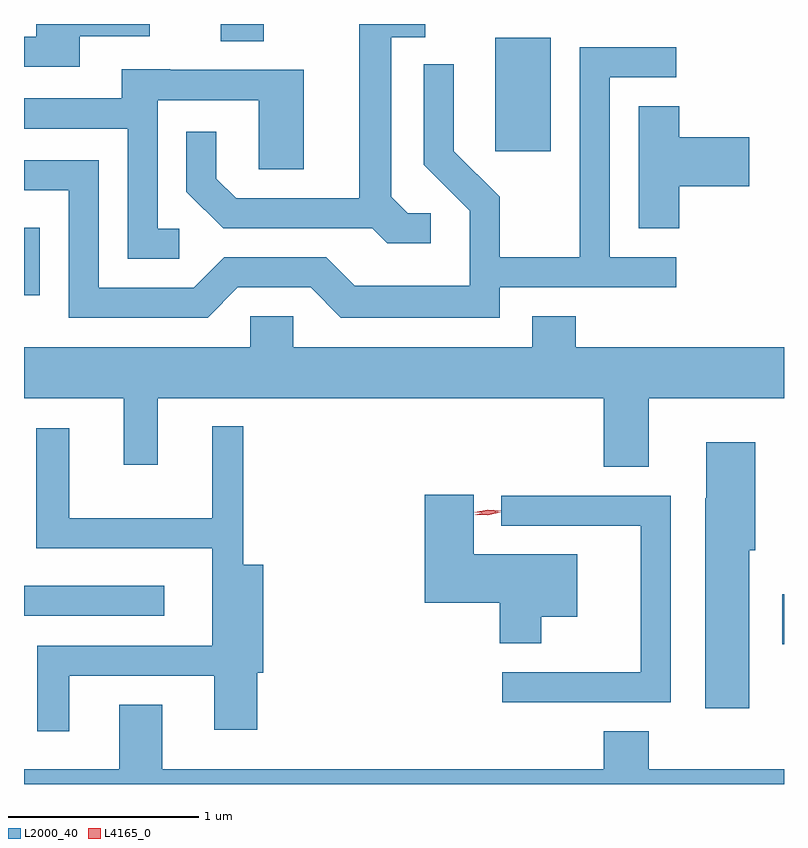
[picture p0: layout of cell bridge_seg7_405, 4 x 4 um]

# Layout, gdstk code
import gdstk
lib = gdstk.Library(unit=1e-6, precision=1e-09)
def R(c, l, rs):  # rectangles x0, y0, x1, y1
    for r in rs: c.add(gdstk.rectangle(r[:2], r[2:], *l))
def P(c, l, *ps):  # polygons
    for p in ps: c.add(gdstk.Polygon(p, *l))
L2000_40 = (2000, 40)
L4165_0 = (4165, 0)

bridge_seg7_405 = lib.new_cell('bridge_seg7_405')
R(bridge_seg7_405, L2000_40, [(1126.236,1713.021,1126.246,1713.284), (1122.246,1713.171,1122.983,1713.329), (1122.246,1714.858,1122.329,1715.214), (1124.726,1715.616,1125.019,1716.214), (1123.281,1716.196,1123.509,1716.286)])
P(bridge_seg7_405, L2000_40, [(1122.539,1716.221),(1122.908,1716.221),(1122.908,1716.286),(1122.311,1716.286),(1122.311,1716.219),(1122.246,1716.219),(1122.246,1716.061),(1122.539,1716.061)],
  [(1124.388,1715.289),(1124.267,1715.289),(1124.179,1715.377),(1124.179,1716.216),(1124.358,1716.216),(1124.358,1716.286),(1124.011,1716.286),(1124.011,1715.369),(1123.362,1715.369),(1123.259,1715.472),(1123.259,1715.718),(1123.101,1715.718),(1123.101,1715.404),(1123.294,1715.211),(1124.079,1715.211),(1124.159,1715.131),(1124.388,1715.131)],
  [(1123.372,1714.901),(1123.754,1714.901),(1123.914,1714.741),(1124.749,1714.741),(1124.749,1714.901),(1125.678,1714.901),(1125.678,1715.059),(1125.329,1715.059),(1125.329,1716.006),(1125.678,1716.006),(1125.678,1716.164),(1125.171,1716.164),(1125.171,1715.059),(1124.749,1715.059),(1124.749,1715.377),(1124.509,1715.617),(1124.509,1716.073),(1124.351,1716.073),(1124.351,1715.544),(1124.591,1715.304),(1124.591,1714.909),(1123.987,1714.909),(1123.837,1715.059),(1123.299,1715.059),(1123.139,1714.899),(1122.639,1714.899),(1122.639,1715.569),(1122.246,1715.569),(1122.246,1715.411),(1122.481,1715.411),(1122.481,1714.741),(1123.212,1714.741)],
  [(1123.063,1715.209),(1122.949,1715.209),(1122.949,1715.886),(1123.481,1715.886),(1123.481,1715.521),(1123.719,1715.521),(1123.719,1716.044),(1123.015,1716.044),(1123.015,1716.049),(1122.761,1716.049),(1122.761,1715.894),(1122.246,1715.894),(1122.246,1715.736),(1122.791,1715.736),(1122.791,1715.051),(1123.063,1715.051)],
  [(1125.694,1715.431),(1126.064,1715.431),(1126.064,1715.689),(1125.694,1715.689),(1125.694,1715.854),(1125.481,1715.854),(1125.481,1715.211),(1125.694,1715.211)],
  [(1125.534,1714.316),(1126.246,1714.316),(1126.246,1714.584),(1125.149,1714.584),(1125.149,1714.749),(1124.921,1714.749),(1124.921,1714.584),(1123.664,1714.584),(1123.664,1714.749),(1123.436,1714.749),(1123.436,1714.584),(1122.246,1714.584),(1122.246,1714.316),(1122.771,1714.316),(1122.771,1713.966),(1122.949,1713.966),(1122.949,1714.316),(1125.296,1714.316),(1125.296,1713.956),(1125.534,1713.956)],
  [(1122.484,1712.856),(1123.246,1712.856),(1123.246,1712.571),(1123.474,1712.571),(1123.474,1712.871),(1123.504,1712.871),(1123.504,1713.439),(1123.399,1713.439),(1123.399,1714.168),(1123.236,1714.168),(1123.236,1713.684),(1122.484,1713.684),(1122.484,1714.159),(1122.311,1714.159),(1122.311,1713.526),(1123.236,1713.526),(1123.236,1713.014),(1122.316,1713.014),(1122.316,1712.563),(1122.484,1712.563)],
  [(1126.064,1713.516),(1126.094,1713.516),(1126.094,1714.084),(1125.836,1714.084),(1125.836,1713.79),(1125.831,1713.79),(1125.831,1712.686),(1126.064,1712.686)],
  [(1124.969,1713.166),(1125.159,1713.166),(1125.159,1713.494),(1124.614,1713.494),(1124.614,1713.809),(1124.356,1713.809),(1124.356,1713.241),(1124.751,1713.241),(1124.751,1713.026),(1124.969,1713.026)],
  [(1125.649,1713.804),(1124.758,1713.804),(1124.758,1713.646),(1125.491,1713.646),(1125.491,1712.874),(1124.763,1712.874),(1124.763,1712.716),(1125.649,1712.716)],
  [(1126.246,1712.364),(1125.534,1712.364),(1125.534,1712.564),(1125.296,1712.564),(1125.296,1712.364),(1122.974,1712.364),(1122.974,1712.704),(1122.746,1712.704),(1122.746,1712.364),(1122.246,1712.364),(1122.246,1712.286),(1126.246,1712.286)])
P(bridge_seg7_405, L4165_0, [(1124.687,1713.71),(1124.618,1713.715),(1124.617,1713.716),(1124.618,1713.716),(1124.686,1713.73),(1124.755,1713.725),(1124.756,1713.724),(1124.755,1713.724)],
  [(1124.688,1713.7),(1124.621,1713.703),(1124.621,1713.704),(1124.621,1713.704),(1124.686,1713.72),(1124.752,1713.717),(1124.753,1713.716),(1124.752,1713.716)])

lib.write_gds('bridge_seg7_405.gds')
